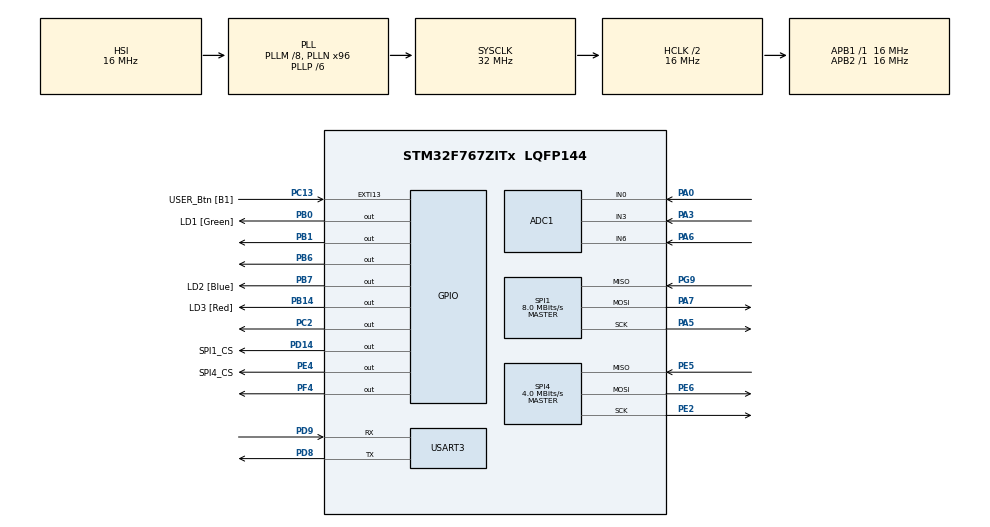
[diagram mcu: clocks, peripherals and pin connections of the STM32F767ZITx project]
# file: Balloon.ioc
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ADC1.Channel-0\#ChannelRegularConversion=ADC_CHANNEL_0
ADC1.Channel-1\#ChannelRegularConversion=ADC_CHANNEL_3
ADC1.Channel-2\#ChannelRegularConversion=ADC_CHANNEL_6
ADC1.ContinuousConvMode=ENABLE
ADC1.NbrOfConversion=3
ADC1.NbrOfConversionFlag=1
ADC1.Rank-0\#ChannelRegularConversion=1
ADC1.Rank-1\#ChannelRegularConversion=2
ADC1.Rank-2\#ChannelRegularConversion=3
ADC1.SamplingTime-0\#ChannelRegularConversion=ADC_SAMPLETIME_144CYCLES
ADC1.SamplingTime-1\#ChannelRegularConversion=ADC_SAMPLETIME_144CYCLES
ADC1.SamplingTime-2\#ChannelRegularConversion=ADC_SAMPLETIME_144CYCLES
ADC1.ScanConvMode=ADC_SCAN_ENABLE
ADC1.master=1
Dma.ADC1.0.Direction=DMA_PERIPH_TO_MEMORY
Dma.ADC1.0.FIFOMode=DMA_FIFOMODE_DISABLE
Dma.ADC1.0.Instance=DMA2_Stream0
Dma.ADC1.0.MemDataAlignment=DMA_MDATAALIGN_HALFWORD
Dma.ADC1.0.MemInc=DMA_MINC_ENABLE
Dma.ADC1.0.Mode=DMA_CIRCULAR
Dma.ADC1.0.PeriphDataAlignment=DMA_PDATAALIGN_HALFWORD
Dma.ADC1.0.PeriphInc=DMA_PINC_DISABLE
Dma.ADC1.0.Priority=DMA_PRIORITY_LOW
Dma.Request0=ADC1
FATFS._MAX_SS=4096
FATFS._USE_LFN=1
Mcu.Family=STM32F7
Mcu.Name=STM32F767ZITx
Mcu.Package=LQFP144
NVIC.ADC_IRQn=true\:1\:0\:true\:false\:true\:true\:true\:true
NVIC.DMA2_Stream0_IRQn=true\:0\:0\:false\:false\:true\:false\:true\:true
NVIC.EXTI15_10_IRQn=true\:0\:0\:false\:false\:true\:true\:true\:true
NVIC.PriorityGroup=NVIC_PRIORITYGROUP_4
NVIC.TIM1_UP_TIM10_IRQn=true\:0\:0\:false\:false\:true\:true\:true\:true
NVIC.USART3_IRQn=true\:0\:0\:false\:false\:true\:true\:true\:true
PA0/WKUP.Signal=ADCx_IN0
PA3.Signal=ADCx_IN3
PA5.Mode=Full_Duplex_Master
PA5.Signal=SPI1_SCK
PA6.Signal=ADCx_IN6
PA7.Mode=Full_Duplex_Master
PA7.Signal=SPI1_MOSI
PB0.GPIO_Label=LD1 [Green]
PB0.Signal=GPIO_Output
PB1.Signal=GPIO_Output
PB14.GPIO_Label=LD3 [Red]
PB14.Signal=GPIO_Output
PB6.Signal=GPIO_Output
PB7.GPIO_Label=LD2 [Blue]
PB7.Signal=GPIO_Output
PC13.GPIO_Label=USER_Btn [B1]
PC13.Signal=GPXTI13
PC2.Signal=GPIO_Output
PD14.GPIO_Label=SPI1_CS
PD14.Signal=GPIO_Output
PD8.Mode=Asynchronous
PD8.Signal=USART3_TX
PD9.Mode=Asynchronous
PD9.Signal=USART3_RX
PE2.Mode=Full_Duplex_Master
PE2.Signal=SPI4_SCK
PE4.GPIO_Label=SPI4_CS
PE4.Signal=GPIO_Output
PE5.Mode=Full_Duplex_Master
PE5.Signal=SPI4_MISO
PE6.Mode=Full_Duplex_Master
PE6.Signal=SPI4_MOSI
PF4.Signal=GPIO_Output
PG9.Mode=Full_Duplex_Master
PG9.Signal=SPI1_MISO
PH0/OSC_IN.Mode=HSE-External-Oscillator
PH0/OSC_IN.Signal=RCC_OSC_IN
PH1/OSC_OUT.Mode=HSE-External-Oscillator
PH1/OSC_OUT.Signal=RCC_OSC_OUT
ProjectManager.HeapSize=0x200
ProjectManager.StackSize=0x400
ProjectManager.TargetToolchain=STM32CubeIDE
RCC.48MHZClocksFreq_Value=24000000
RCC.AHBCLKDivider=RCC_SYSCLK_DIV2
RCC.AHBFreq_Value=16000000
RCC.APB1Freq_Value=16000000
RCC.APB1TimFreq_Value=16000000
RCC.APB2Freq_Value=16000000
RCC.APB2TimFreq_Value=16000000
RCC.CortexFreq_Value=16000000
RCC.HCLKFreq_Value=16000000
RCC.HSE_VALUE=16000000
RCC.HSI_VALUE=16000000
RCC.LSE_VALUE=32768
RCC.PLLM=8
RCC.PLLMUL=RCC_PLL_MUL9
RCC.PLLN=96
RCC.PLLP=RCC_PLLP_DIV6
RCC.PLLQ=7
RCC.PRESCALERUSB=RCC_USBCLKSOURCE_PLL_DIV1_5
RCC.SYSCLKFreq_VALUE=32000000
RCC.SYSCLKSource=RCC_SYSCLKSOURCE_PLLCLK
RCC.SYSCLKSourceVirtual=RCC_SYSCLKSOURCE_PLLCLK
RCC.USBFreq_Value=27428571.42857143
RCC.VCOOutputFreq_Value=192000000
SH.ADCx_IN0.0=ADC1_IN0,IN0
SH.ADCx_IN3.0=ADC1_IN3,IN3
SH.ADCx_IN6.0=ADC1_IN6,IN6
SPI1.BaudRatePrescaler=SPI_BAUDRATEPRESCALER_2
SPI1.CalculateBaudRate=8.0 MBits/s
SPI1.DataSize=SPI_DATASIZE_8BIT
SPI1.Direction=SPI_DIRECTION_2LINES
SPI1.Mode=SPI_MODE_MASTER
SPI1.VirtualType=VM_MASTER
SPI4.BaudRatePrescaler=SPI_BAUDRATEPRESCALER_4
SPI4.CalculateBaudRate=4.0 MBits/s
SPI4.DataSize=SPI_DATASIZE_8BIT
SPI4.Direction=SPI_DIRECTION_2LINES
SPI4.Mode=SPI_MODE_MASTER
SPI4.NSSPMode=SPI_NSS_PULSE_DISABLE
SPI4.VirtualType=VM_MASTER
TIM1.Period=20000-1
TIM1.Prescaler=1600-1
TIM1.TIM_MasterOutputTrigger=TIM_TRGO_UPDATE
USART3.VirtualMode-Asynchronous=VM_ASYNC
VP_FATFS_VS_Generic.Mode=User_defined
VP_TIM1_VS_ClockSourceINT.Mode=Internal
board=NUCLEO-F767ZI

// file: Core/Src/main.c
/* USER CODE BEGIN Header */
/**
  ******************************************************************************
  * @file           : main.c
  * @brief          : Main program body
  ******************************************************************************
  * @attention
  *
  * Copyright (c) 2022 STMicroelectronics.
  * All rights reserved.
  *
  * This software is licensed under terms that can be found in the LICENSE file
  * in the root directory of this software component.
  * If no LICENSE file comes with this software, it is provided AS-IS.
  *
  ******************************************************************************
  */

/* USER CODE END Header */
#include "main.h"
#include "adc.h"
#include "dma.h"
#include "fatfs.h"
#include "spi.h"
#include "tim.h"
#include "usart.h"
#include "gpio.h"

/* USER CODE BEGIN Includes */
#include <stdio.h>
#include <string.h>
#include <stdbool.h>
#include "fatfs_sd.h"
#include "fatfs_sd_api.h"
#include "balloon_utils.h"
/* USER CODE END Includes */

void SystemClock_Config(void);

/* USER CODE BEGIN 0 */
uint8_t convCompleted = 0;	//Flag to check the state of the ADC conversions
uint16_t ADC_results[3]; 	//List with ADC results
char MSG[512]; 				//Message to send

float V_LC; 	//battery 1 level
float V_AA; 	//battery 2 level
float V_9V; 	//battery 3 level
float T_PT100;  //Temperature provided by PT100
float dT;		//Temperature gradient provided by STM
int time; 		//To save the time

bool flagSDEnd = false; 	//Flag to check if the SDCard was closed
bool switchFont = false;	//Flag to check if the energy supplier was already switched

void Build_MSG(){	//builds the Message that will be sent from the STM(Master) to the Arduino(Slave)
	sprintf(MSG, "%d;%.1f;%.1f;%.1f\n",time, V_LC, V_AA, V_9V);
}

void convert_adc_to_physicalvalue(){
	float aux1, aux2, aux3;

	//Pass ADC result from bits to tension
	aux1 = ADC_results[0]*3.3/4096;	//ADC result in Volts
	aux2 = ADC_results[1]*3.3/4096;
	aux3 = ADC_results[2]*3.3/4096;

	//Correction factor for V_LC: 3
	//Correction factor for V_AA: 2
	//Correction factor for V_9V: 3
	//Convert ADC result to temperature and voltages
	V_LC = aux1 * 3;
	V_AA = aux2 * 2;
	V_9V = aux3 * 3.3;
}

void Send_MSG()		//Send Message from STM(Master) to Arduino(Slave) using SPI4
{
	HAL_GPIO_WritePin(GPIOE, GPIO_PIN_4, GPIO_PIN_RESET); 		// CS Low => initiate communication between Master and Slave
	int i = 0;

	for(i=0;i<strlen(MSG);i++){
		char dataSend = MSG[i];
		HAL_SPI_Transmit(&hspi4, (uint8_t*)&dataSend, 1,100); 	//Send byte by byte
	}
	HAL_GPIO_WritePin(GPIOE, GPIO_PIN_4, GPIO_PIN_SET); 		// CS High => End communication
}

void print_adc()
{
	reset_UART();
	send_UART(MSG);
}

/* USER CODE END 0 */

int main(void)
{

  /* MCU Configuration--------------------------------------------------------*/
  /* Reset of all peripherals, Initializes the Flash interface and the Systick. */
  HAL_Init();

  /* Configure the system clock */
  SystemClock_Config();

  /* Initialize all configured peripherals */
  MX_GPIO_Init();
  MX_DMA_Init();
  MX_TIM1_Init();
  MX_SPI1_Init();
  MX_FATFS_Init();
  MX_SPI4_Init();
  MX_ADC1_Init();
  MX_USART3_UART_Init();
  /* USER CODE BEGIN 2 */
  HAL_GPIO_WritePin(GPIOB, GPIO_PIN_14, GPIO_PIN_SET);
  HAL_GPIO_WritePin(GPIOB, GPIO_PIN_1, GPIO_PIN_SET); 	//Feed STM

  while(!isButPressed()); //wait to press STM bottom to feed LoRa and Datalogger
  butClear();

  HAL_GPIO_WritePin(GPIOB, GPIO_PIN_14, GPIO_PIN_RESET);	//O Led vermelho (led dos erros) desligado
  HAL_GPIO_WritePin(GPIOF, GPIO_PIN_4, GPIO_PIN_SET); 		//Feed Datalogger
  HAL_GPIO_WritePin(GPIOB, GPIO_PIN_6, GPIO_PIN_RESET); 	//Alimentacao de BackUp off

  if(!SDCardInit()){
	  //Error - Turn on Error Led
	  HAL_GPIO_WritePin(GPIOB, GPIO_PIN_14, GPIO_PIN_SET);
  }

  HAL_Delay(3000);

  SDCardWrite("time;V_LC;V_AA;V_9V\n");

  time = 0; //start time counting

  reset_UART();
  send_UART(PROMPT);
  reset_UART();
  send_UART("time;V_LC;V_AA;V_9V");

  HAL_Delay(1000);

  HAL_TIM_Base_Start_IT(&htim1); //start timer

  /* USER CODE END 2 */

  /* Infinite loop */
  /* USER CODE BEGIN WHILE */

	while (1)
	{
		if(ReturnFlagTimer()){
			//2s Passed
			time += 2; //add 2s to time since 2s passed from the last measure
			HAL_ADC_Start_DMA(&hadc1, (uint32_t *) ADC_results, 3);

			while(!convCompleted);

			convCompleted = 0;

			convert_adc_to_physicalvalue(); // Convert adc values to Temperature and Voltages
			Build_MSG(); //build Message before sending
			print_adc();

			if(!flagSDEnd){
				//Ainda nao foi realizado o End do cartao
				if(SDCardHasLowSpace()){
					//Low space at the SD card => End SD card
					if(!SDCardEnd()){
						//Nao conseguiu realizar o End com sucesso
						HAL_GPIO_WritePin(GPIOB, GPIO_PIN_14, GPIO_PIN_SET); //Acidionar led de erro
					}
					else{
						//Realizou-se o End do cartao
						flagSDEnd = true;
					}
				}
				else{
					//O cartao tem espaco ainda
					if(!SDCardWrite(MSG)){
						//Nao conseguiu escrever
						HAL_GPIO_WritePin(GPIOB, GPIO_PIN_14, GPIO_PIN_SET); //Acidionar led de erro
					}
				}
			}

			ClearFlagTimer(); //set flag = false
		}

		//Ver se e necessario trocar a fonte de alimentacao do datalogger
		if(V_9V <= MINIMUM_VOLTAGE_DATALOGGER){
			//A alimentacao do datalogger deve ser trocada para a backup
			if (!switchFont){
				HAL_GPIO_WritePin(GPIOB, GPIO_PIN_6, GPIO_PIN_SET); // Ativar a Alimentacao de backup
				HAL_GPIO_WritePin(GPIOF, GPIO_PIN_4, GPIO_PIN_RESET); //Desligar a alimentacao inicial do datalogger
				SDCardWrite("Switched to Backup Battery\n");
				switchFont = true;
			}
		}
    /* USER CODE END WHILE */

	}
}

void SystemClock_Config(void)
{
  RCC_OscInitTypeDef RCC_OscInitStruct = {0};
  RCC_ClkInitTypeDef RCC_ClkInitStruct = {0};

  /** Configure the main internal regulator output voltage
  */
  __HAL_RCC_PWR_CLK_ENABLE();
  __HAL_PWR_VOLTAGESCALING_CONFIG(PWR_REGULATOR_VOLTAGE_SCALE3);

  /** Initializes the RCC Oscillators according to the specified parameters
  * in the RCC_OscInitTypeDef structure.
  */
  RCC_OscInitStruct.OscillatorType = RCC_OSCILLATORTYPE_HSI;
  RCC_OscInitStruct.HSIState = RCC_HSI_ON;
  RCC_OscInitStruct.HSICalibrationValue = RCC_HSICALIBRATION_DEFAULT;
  RCC_OscInitStruct.PLL.PLLState = RCC_PLL_ON;
  RCC_OscInitStruct.PLL.PLLSource = RCC_PLLSOURCE_HSI;
  RCC_OscInitStruct.PLL.PLLM = 8;
  RCC_OscInitStruct.PLL.PLLN = 96;
  RCC_OscInitStruct.PLL.PLLP = RCC_PLLP_DIV6;
  RCC_OscInitStruct.PLL.PLLQ = 7;
  RCC_OscInitStruct.PLL.PLLR = 2;
  if (HAL_RCC_OscConfig(&RCC_OscInitStruct) != HAL_OK)
  {
    Error_Handler();
  }

  /** Initializes the CPU, AHB and APB buses clocks
  */
  RCC_ClkInitStruct.ClockType = RCC_CLOCKTYPE_HCLK|RCC_CLOCKTYPE_SYSCLK
                              |RCC_CLOCKTYPE_PCLK1|RCC_CLOCKTYPE_PCLK2;
  RCC_ClkInitStruct.SYSCLKSource = RCC_SYSCLKSOURCE_PLLCLK;
  RCC_ClkInitStruct.AHBCLKDivider = RCC_SYSCLK_DIV2;
  RCC_ClkInitStruct.APB1CLKDivider = RCC_HCLK_DIV1;
  RCC_ClkInitStruct.APB2CLKDivider = RCC_HCLK_DIV1;

  if (HAL_RCC_ClockConfig(&RCC_ClkInitStruct, FLASH_LATENCY_0) != HAL_OK)
  {
    Error_Handler();
  }
}

void Error_Handler(void)
{
  __disable_irq();
  while (1)
  {
  }
}
